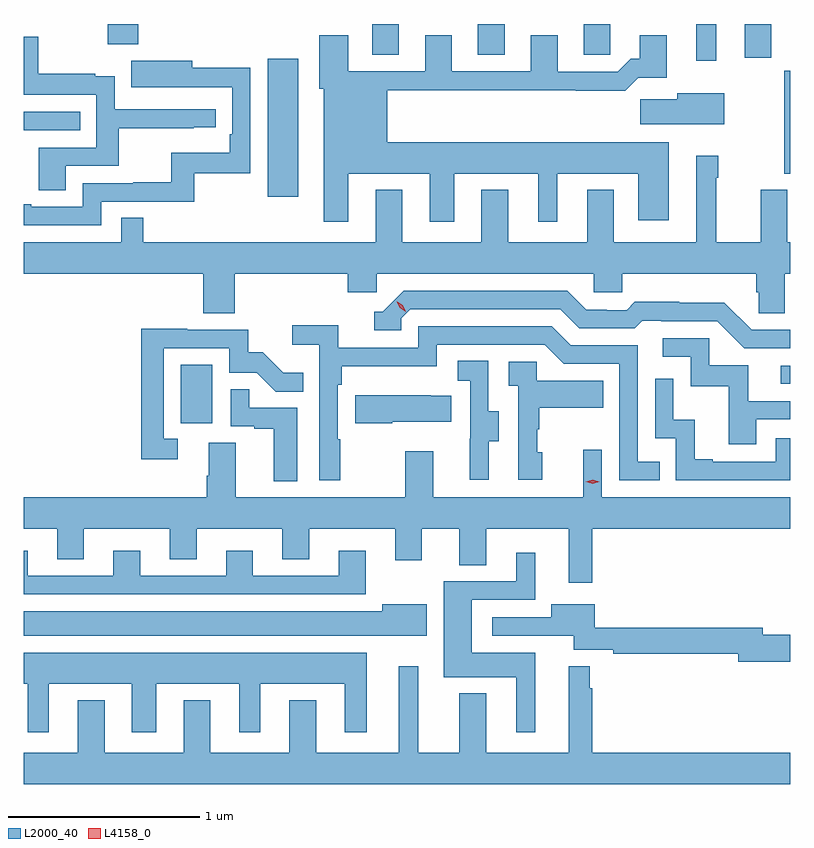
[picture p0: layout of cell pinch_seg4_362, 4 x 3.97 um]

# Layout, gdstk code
import gdstk
lib = gdstk.Library(unit=1e-6, precision=1e-09)
def R(c, l, rs):  # rectangles x0, y0, x1, y1
    for r in rs: c.add(gdstk.rectangle(r[:2], r[2:], *l))
def P(c, l, *ps):  # polygons
    for p in ps: c.add(gdstk.Polygon(p, *l))
L2000_40 = (2000, 40)
L4158_0 = (4158, 0)

pinch_seg4_362 = lib.new_cell('pinch_seg4_362')
R(pinch_seg4_362, L2000_40, [(962.3,796.038,962.464,796.345), (965.433,796.245,965.481,796.338), (962.753,797.22,962.914,797.941), (965.45,797.342,965.481,797.878), (961.481,797.568,961.775,797.664), (964.991,797.931,965.095,798.123), (965.243,797.946,965.383,798.123), (963.299,797.962,963.439,798.123), (963.851,797.962,963.991,798.123), (964.403,797.962,964.542,798.123), (961.918,798.017,962.078,798.123)])
P(pinch_seg4_362, L2000_40, [(963.175,797.342),(963.599,797.342),(963.599,797.091),(963.727,797.091),(963.727,797.342),(964.166,797.342),(964.166,797.091),(964.264,797.091),(964.264,797.342),(964.688,797.342),(964.688,797.099),(964.846,797.099),(964.846,797.506),(963.379,797.506),(963.379,797.776),(964.363,797.776),(964.363,797.774),(964.619,797.774),(964.688,797.843),(964.837,797.843),(964.837,798.064),(964.697,798.064),(964.697,797.941),(964.648,797.941),(964.581,797.874),(964.267,797.874),(964.267,798.064),(964.127,798.064),(964.127,797.877),(963.715,797.877),(963.715,798.064),(963.575,798.064),(963.575,797.877),(963.175,797.877),(963.175,798.064),(963.023,798.064),(963.023,797.784),(963.047,797.784),(963.047,797.091),(963.175,797.091)],
  [(961.699,797.382),(961.976,797.382),(961.976,797.578),(962.369,797.578),(962.369,797.583),(962.482,797.583),(962.482,797.679),(961.956,797.679),(961.956,797.851),(961.853,797.851),(961.853,797.863),(961.555,797.863),(961.555,798.057),(961.481,798.057),(961.481,797.754),(961.86,797.754),(961.86,797.478),(961.559,797.478),(961.559,797.254),(961.699,797.254)],
  [(961.884,797.196),(962.371,797.196),(962.371,797.343),(962.664,797.343),(962.664,797.894),(962.359,797.894),(962.359,797.932),(962.041,797.932),(962.041,797.792),(962.255,797.792),(962.255,797.793),(962.568,797.793),(962.568,797.548),(962.555,797.548),(962.555,797.452),(962.25,797.452),(962.25,797.297),(962.053,797.297),(962.053,797.292),(961.788,797.292),(961.788,797.169),(961.519,797.169),(961.519,797.182),(961.481,797.182),(961.481,797.073),(961.884,797.073)],
  [(965.137,797.761),(964.892,797.761),(964.892,797.729),(964.698,797.729),(964.698,797.6),(965.137,797.6)],
  [(964.455,796.722),(964.605,796.722),(964.605,796.82),(965.303,796.82),(965.303,796.722),(965.317,796.722),(965.317,796.612),(965.454,796.612),(965.454,796.82),(965.481,796.82),(965.481,796.984),(965.467,796.984),(965.467,797.257),(965.327,797.257),(965.327,796.984),(965.095,796.984),(965.095,797.321),(965.105,797.321),(965.105,797.434),(964.991,797.434),(964.991,796.984),(964.561,796.984),(964.561,797.257),(964.421,797.257),(964.421,796.984),(964.009,796.984),(964.009,797.257),(963.869,797.257),(963.869,796.984),(963.457,796.984),(963.457,797.257),(963.317,797.257),(963.317,796.984),(962.105,796.984),(962.105,797.111),(961.989,797.111),(961.989,796.984),(961.481,796.984),(961.481,796.82),(962.417,796.82),(962.417,796.612),(962.582,796.612),(962.582,796.82),(963.173,796.82),(963.173,796.722),(963.324,796.722),(963.324,796.82),(964.455,796.82)],
  [(965.481,796.527),(965.28,796.527),(965.138,796.669),(964.902,796.669),(964.902,796.672),(964.669,796.672),(964.627,796.629),(964.524,796.629),(964.524,796.632),(964.417,796.632),(964.318,796.731),(963.465,796.731),(963.354,796.62),(963.311,796.62),(963.311,796.524),(963.45,796.524),(963.45,796.587),(963.498,796.635),(964.281,796.635),(964.38,796.536),(964.669,796.536),(964.708,796.575),(964.807,796.575),(964.807,796.572),(965.1,796.572),(965.241,796.431),(965.481,796.431)],
  [(963.133,795.956),(963.12,795.956),(963.12,796.241),(963.14,796.241),(963.14,796.337),(963.636,796.337),(963.636,796.449),(964.2,796.449),(964.299,796.35),(964.59,796.35),(964.59,795.741),(964.799,795.741),(964.799,795.837),(964.686,795.837),(964.686,796.446),(964.336,796.446),(964.237,796.545),(963.54,796.545),(963.54,796.434),(963.122,796.434),(963.122,796.55),(962.883,796.55),(962.883,796.448),(963.024,796.448),(963.024,795.741),(963.133,795.741)],
  [(962.284,795.957),(962.211,795.957),(962.211,796.431),(962.553,796.431),(962.553,796.302),(962.698,796.302),(962.796,796.204),(962.939,796.204),(962.939,796.303),(962.835,796.303),(962.728,796.41),(962.652,796.41),(962.652,796.527),(962.333,796.527),(962.333,796.532),(962.095,796.532),(962.095,795.852),(962.284,795.852)],
  [(965.305,796.059),(965.481,796.059),(965.481,796.155),(965.263,796.155),(965.263,796.341),(965.058,796.341),(965.058,796.482),(964.815,796.482),(964.815,796.386),(964.962,796.386),(964.962,796.233),(965.161,796.233),(965.161,795.93),(965.305,795.93)],
  [(963.907,795.946),(963.961,795.946),(963.961,796.101),(963.906,796.101),(963.906,796.364),(963.747,796.364),(963.747,796.261),(963.81,796.261),(963.81,795.957),(963.809,795.957),(963.809,795.744),(963.907,795.744)],
  [(964.186,795.888),(964.161,795.888),(964.161,796.007),(964.171,796.007),(964.171,796.121),(964.505,796.121),(964.505,796.261),(964.158,796.261),(964.158,796.359),(964.011,796.359),(964.011,796.235),(964.062,796.235),(964.062,795.744),(964.186,795.744)],
  [(965.481,795.96),(965.406,795.96),(965.406,795.837),(965.077,795.837),(965.077,795.85),(964.982,795.85),(964.982,796.058),(964.872,796.058),(964.872,796.27),(964.776,796.27),(964.776,795.96),(964.884,795.96),(964.884,795.741),(965.481,795.741)],
  [(962.908,796.119),(962.657,796.119),(962.657,796.217),(962.562,796.217),(962.562,796.023),(962.683,796.023),(962.683,796.011),(962.786,796.011),(962.786,795.737),(962.908,795.737)],
  [(963.403,796.046),(963.713,796.046),(963.713,796.183),(963.605,796.183),(963.605,796.186),(963.212,796.186),(963.212,796.039),(963.403,796.039)],
  [(964.447,795.488),(965.481,795.488),(965.481,795.652),(964.497,795.652),(964.497,795.901),(964.4,795.901),(964.4,795.652),(963.619,795.652),(963.619,795.892),(963.472,795.892),(963.472,795.652),(962.587,795.652),(962.587,795.938),(962.447,795.938),(962.447,795.764),(962.435,795.764),(962.435,795.652),(961.481,795.652),(961.481,795.488),(961.655,795.488),(961.655,795.328),(961.795,795.328),(961.795,795.488),(962.243,795.488),(962.243,795.328),(962.383,795.328),(962.383,795.488),(962.831,795.488),(962.831,795.328),(962.971,795.328),(962.971,795.488),(963.419,795.488),(963.419,795.324),(963.559,795.324),(963.559,795.488),(963.755,795.488),(963.755,795.298),(963.895,795.298),(963.895,795.488),(964.325,795.488),(964.325,795.207),(964.447,795.207)],
  [(963.265,795.373),(963.125,795.373),(963.125,795.243),(962.677,795.243),(962.677,795.373),(962.537,795.373),(962.537,795.243),(962.089,795.243),(962.089,795.373),(961.949,795.373),(961.949,795.243),(961.501,795.243),(961.501,795.373),(961.481,795.373),(961.481,795.147),(963.265,795.147)],
  [(964.15,794.842),(963.82,794.842),(963.82,795.117),(964.15,795.117),(964.15,795.364),(964.052,795.364),(964.052,795.213),(963.674,795.213),(963.674,794.714),(964.052,794.714),(964.052,794.427),(964.15,794.427)],
  [(965.481,794.936),(965.338,794.936),(965.338,794.972),(964.462,794.972),(964.462,795.094),(964.235,795.094),(964.235,795.027),(963.927,795.027),(963.927,794.931),(964.352,794.931),(964.352,794.856),(964.558,794.856),(964.558,794.836),(965.21,794.836),(965.21,794.794),(965.481,794.794)],
  [(963.583,795.094),(963.353,795.094),(963.353,795.058),(961.481,795.058),(961.481,794.93),(963.583,794.93)],
  [(961.612,794.678),(962.045,794.678),(962.045,794.427),(962.173,794.427),(962.173,794.678),(962.606,794.678),(962.606,794.427),(962.716,794.427),(962.716,794.678),(963.155,794.678),(963.155,794.427),(963.271,794.427),(963.271,794.842),(961.481,794.842),(961.481,794.678),(961.502,794.678),(961.502,794.427),(961.612,794.427)],
  [(965.481,794.32),(964.447,794.32),(964.447,794.657),(964.436,794.657),(964.436,794.77),(964.325,794.77),(964.325,794.32),(963.895,794.32),(963.895,794.629),(963.755,794.629),(963.755,794.32),(963.541,794.32),(963.541,794.77),(963.437,794.77),(963.437,794.32),(963.007,794.32),(963.007,794.593),(962.867,794.593),(962.867,794.32),(962.455,794.32),(962.455,794.593),(962.315,794.593),(962.315,794.32),(961.903,794.32),(961.903,794.593),(961.763,794.593),(961.763,794.32),(961.481,794.32),(961.481,794.156),(965.481,794.156)])
P(pinch_seg4_362, L4158_0, [(964.45,795.724),(964.415,795.734),(964.414,795.734),(964.415,795.734),(964.45,795.744),(964.485,795.734),(964.485,795.734),(964.485,795.733)],
  [(963.475,796.622),(963.444,796.642),(963.428,796.674),(963.428,796.674),(963.429,796.674),(963.459,796.655),(963.475,796.623),(963.475,796.622)])

lib.write_gds('pinch_seg4_362.gds')
